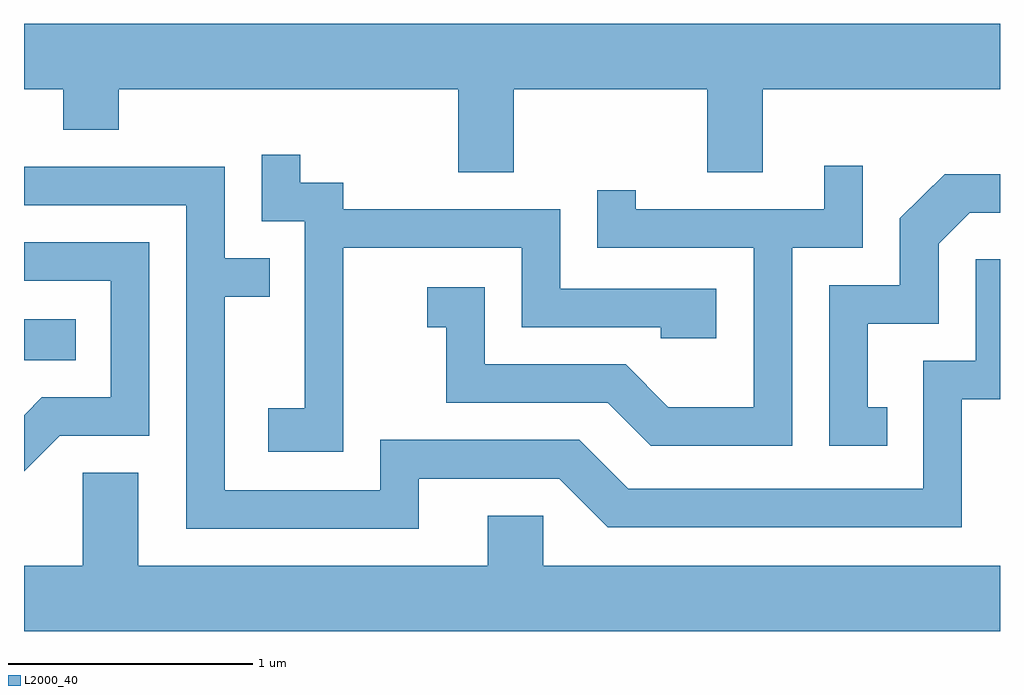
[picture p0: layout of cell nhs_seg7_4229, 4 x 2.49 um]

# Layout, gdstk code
import gdstk
lib = gdstk.Library(unit=1e-6, precision=1e-09)
def R(c, l, rs):  # rectangles x0, y0, x1, y1
    for r in rs: c.add(gdstk.rectangle(r[:2], r[2:], *l))
def P(c, l, *ps):  # polygons
    for p in ps: c.add(gdstk.Polygon(p, *l))
L2000_40 = (2000, 40)

nhs_seg7_4229 = lib.new_cell('nhs_seg7_4229')
R(nhs_seg7_4229, L2000_40, [(315.611,1677.686,315.823,1677.854)])
P(nhs_seg7_4229, L2000_40, [(317.619,1678.796),(318.411,1678.796),(318.411,1678.456),(318.639,1678.456),(318.639,1678.796),(319.611,1678.796),(319.611,1679.064),(315.611,1679.064),(315.611,1678.796),(315.771,1678.796),(315.771,1678.631),(315.999,1678.631),(315.999,1678.796),(317.391,1678.796),(317.391,1678.456),(317.619,1678.456)],
  [(316.919,1678.146),(317.651,1678.146),(317.651,1677.821),(318.221,1677.821),(318.221,1677.776),(318.449,1677.776),(318.449,1677.979),(317.809,1677.979),(317.809,1678.304),(316.919,1678.304),(316.919,1678.414),(316.744,1678.414),(316.744,1678.528),(316.586,1678.528),(316.586,1678.256),(316.761,1678.256),(316.761,1677.489),(316.611,1677.489),(316.611,1677.311),(316.919,1677.311)],
  [(318.759,1678.146),(319.049,1678.146),(319.049,1678.483),(318.891,1678.483),(318.891,1678.304),(318.119,1678.304),(318.119,1678.383),(317.961,1678.383),(317.961,1678.146),(318.601,1678.146),(318.601,1677.494),(318.252,1677.494),(318.077,1677.669),(317.499,1677.669),(317.499,1677.984),(317.263,1677.984),(317.263,1677.821),(317.341,1677.821),(317.341,1677.511),(318.004,1677.511),(318.179,1677.336),(318.759,1677.336)],
  [(317.229,1677.201),(317.804,1677.201),(318.004,1677.001),(319.454,1677.001),(319.454,1677.526),(319.611,1677.526),(319.611,1678.099),(319.511,1678.099),(319.511,1677.684),(319.296,1677.684),(319.296,1677.159),(318.087,1677.159),(317.887,1677.359),(317.071,1677.359),(317.071,1677.154),(316.434,1677.154),(316.434,1677.946),(316.618,1677.946),(316.618,1678.104),(316.434,1678.104),(316.434,1678.479),(315.611,1678.479),(315.611,1678.321),(316.276,1678.321),(316.276,1676.996),(317.229,1676.996)],
  [(319.148,1677.494),(319.069,1677.494),(319.069,1677.836),(319.359,1677.836),(319.359,1678.164),(319.487,1678.291),(319.611,1678.291),(319.611,1678.449),(319.384,1678.449),(319.201,1678.267),(319.201,1677.994),(318.911,1677.994),(318.911,1677.336),(319.148,1677.336)],
  [(315.757,1677.376),(316.124,1677.376),(316.124,1678.169),(315.611,1678.169),(315.611,1678.011),(315.966,1678.011),(315.966,1677.534),(315.684,1677.534),(315.611,1677.461),(315.611,1677.23)],
  [(319.611,1676.844),(317.739,1676.844),(317.739,1677.049),(317.511,1677.049),(317.511,1676.844),(316.079,1676.844),(316.079,1677.224),(315.851,1677.224),(315.851,1676.844),(315.611,1676.844),(315.611,1676.576),(319.611,1676.576)])

lib.write_gds('nhs_seg7_4229.gds')
